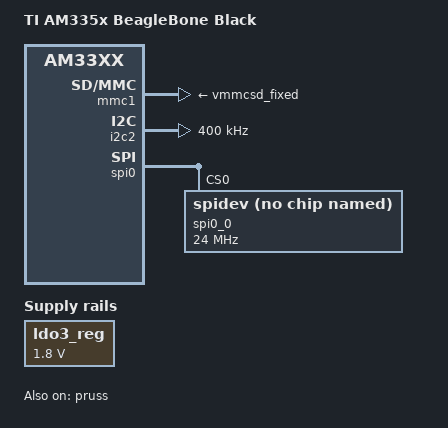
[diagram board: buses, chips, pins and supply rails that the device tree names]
/*
 * Copyright (C) 2012 Texas Instruments Incorporated - http://www.ti.com/
 *                    Modified by Mirko Denecke <mirkix@gmail.com>
 *
 * This program is free software; you can redistribute it and/or modify
 * it under the terms of the GNU General Public License version 2 as
 * published by the Free Software Foundation.
 */

/dts-v1/;

#include "am33xx.dtsi"
#include "am335x-bone-common.dtsi"

/ {
	model = "TI AM335x BeagleBone Black";
	compatible = "ti,am335x-bone-black", "ti,am335x-bone", "ti,am33xx";
};

&ldo3_reg {
	regulator-min-microvolt = <1800000>;
	regulator-max-microvolt = <1800000>;
	regulator-always-on;
};

&mmc1 {
	vmmc-supply = <&vmmcsd_fixed>;
};

&am33xx_pinmux {
	pinctrl-names = "default";
	pinctrl-0 = <&clkout2_pin>;
};

#include "am335x-peripheral-emmc.dtsi"
#include "am335x-bone-pinmux-emmc.dtsi"

&rtc {
	system-power-controller;
};

#include "am335x-peripheral-spi1.dtsi"
#include "am335x-bone-pinmux-spi1.dtsi"

#include "am335x-peripheral-can1.dtsi"
#include "am335x-bone-pinmux-can1.dtsi"

#include "am335x-peripheral-i2c2.dtsi"
#include "am335x-bone-pinmux-i2c2.dtsi"
#include "am335x-cape-i2c2-eeprom.dtsi"
&i2c2 {
    clock-frequency = <400000>;
};

#include "am335x-peripheral-ttyS4.dtsi"
#include "am335x-bone-pinmux-ttyS4.dtsi"

#include "am335x-peripheral-ttyS5.dtsi"
#include "am335x-bone-pinmux-ttyS5.dtsi"


&am33xx_pinmux {
	pru_pins: pinmux_pru_pins {
		pinctrl-single,pins = <
			0x03c 0x35	/* ecap0_in_pwm0_out.pr1_ecap0_ecap_capin, MODE5 | INPUT_PULLUP | PRU, PPM-sum, SBUS, DSM  */

			0x0e8 0x25	/* lcd_pclk.pr1_pru1_pru_r30_10, MODE5 | OUTPUT | PRU, CH_1 */
			0x0e0 0x25	/* lcd_vsync.pr1_pru1_pru_r30_8, MODE5 | OUTPUT | PRU, CH_2 */
			0x0ec 0x25	/* lcd_ac_bias_en.pr1_pru1_pru_r30_11, MODE5 | OUTPUT | PRU, CH_3 */
			0x0e4 0x25	/* lcd_hsync.pr1_pru1_pru_r30_9, MODE5 | OUTPUT | PRU, CH_4 */
			0x0bc 0x25	/* lcd_data7.pr1_pru1_pru_r30_7, MODE5 | OUTPUT | PRU, CH_5 */
			0x0b8 0x25	/* lcd_data6.pr1_pru1_pru_r30_6, MODE5 | OUTPUT | PRU, CH_6 */
			0x0b4 0x25	/* lcd_data5.pr1_pru1_pru_r30_5, MODE5 | OUTPUT | PRU, CH_7 */
			0x0b0 0x25	/* lcd_data4.pr1_pru1_pru_r30_4, MODE5 | OUTPUT | PRU, CH_8 */
			0x0ac 0x25	/* lcd_data3.pr1_pru1_pru_r30_3, MODE5 | OUTPUT | PRU, CH_9 */
			0x0a8 0x25	/* lcd_data2.pr1_pru1_pru_r30_2, MODE5 | OUTPUT | PRU, CH_10 */
			0x0a4 0x25	/* lcd_data1.pr1_pru1_pru_r30_1, MODE5 | OUTPUT | PRU, CH_11 */
			0x0a0 0x25	/* lcd_data0.pr1_pru1_pru_r30_0, MODE5 | OUTPUT | PRU, CH_12 */

			BONE_P8_12 (PIN_OUTPUT_PULLDOWN | MUX_MODE6) /* HC-SR04 TRIG */
			BONE_P8_16 (PIN_INPUT_PULLDOWN | MUX_MODE6) /* HC-SR04 ECHO */

			BONE_P9_25 (PIN_INPUT_PULLDOWN | MUX_MODE6) /* MPU9250 INT */
		>;
	};

	spi0_pins: pinmux_spi0_pins {
		pinctrl-single,pins = <
			/* P9_22: spi0_sclk.spi0_sclk */
			BONE_P9_22 (PIN_INPUT_PULLUP | MUX_MODE0)
			/* P9_21: spi0_d0.spi0_d0 */
			BONE_P9_21 (PIN_INPUT_PULLUP | MUX_MODE0)
			/* P9_18: spi0_d1.spi0_d1 */
			BONE_P9_18 (PIN_OUTPUT_PULLUP | MUX_MODE0)
			/* P9_17: spi0_cs0.spi0_cs0 */
			BONE_P9_17 (PIN_OUTPUT_PULLUP | MUX_MODE0)
		>;
	};
};

&spi0 {
	pinctrl-names = "default";
	pinctrl-0 = <&spi0_pins>;
	status = "okay";

	spi0_0 {
		#address-cells = <1>;
		#size-cells = <0>;
		spi-max-frequency = <24000000>;
		reg = <0>;
		compatible = "spidev";
	};
};

&pruss {
	pinctrl-names = "default";
	pinctrl-0 = <&pru_pins>;
	status = "okay";
};
